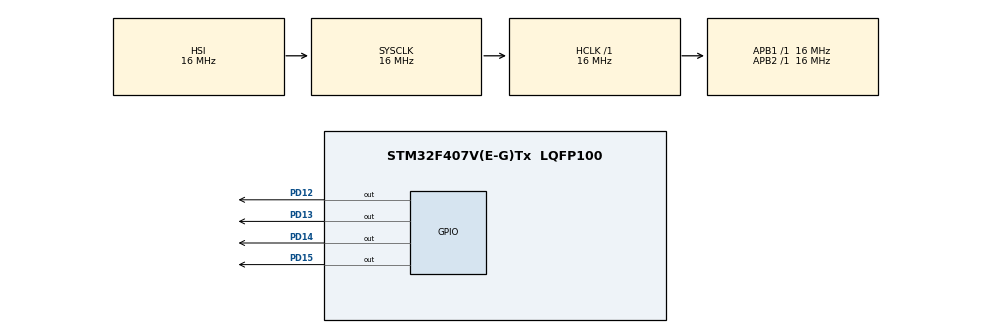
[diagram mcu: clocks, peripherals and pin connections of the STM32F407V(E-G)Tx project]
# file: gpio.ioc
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Mcu.Family=STM32F4
RCC.CortexFreq_Value=16000000
ProjectManager.StackSize=0x400
PD13.Signal=GPIO_Output
PA13.Signal=SYS_JTMS-SWDIO
ProjectManager.TargetToolchain=STM32CubeIDE
RCC.LSE_VALUE=32768
RCC.AHBFreq_Value=16000000
RCC.HSE_VALUE=25000000
board=custom
RCC.VCOOutputFreq_Value=192000000
RCC.APB2Freq_Value=16000000
PA14.Mode=Serial_Wire
PA13.Mode=Serial_Wire
Mcu.Name=STM32F407V(E-G)Tx
PD14.Signal=GPIO_Output
RCC.SYSCLKFreq_VALUE=16000000
Mcu.Package=LQFP100
PD12.Signal=GPIO_Output
PA14.Signal=SYS_JTCK-SWCLK
ProjectManager.HeapSize=0x200
RCC.HSI_VALUE=16000000
NVIC.PriorityGroup=NVIC_PRIORITYGROUP_4
RCC.APB1Freq_Value=16000000
PD15.Signal=GPIO_Output

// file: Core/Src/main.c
/* USER CODE BEGIN Header */
/**
  ******************************************************************************
  * @file           : main.c
  * @brief          : Main program body
  ******************************************************************************
  * @attention
  *
  * <h2><center>&copy; Copyright (c) 2021 STMicroelectronics.
  * All rights reserved.</center></h2>
  *
  * This software component is licensed by ST under BSD 3-Clause license,
  * the "License"; You may not use this file except in compliance with the
  * License. You may obtain a copy of the License at:
  *                        opensource.org/licenses/BSD-3-Clause
  *
  ******************************************************************************
  */
/* USER CODE END Header */
#include "main.h"

void SystemClock_Config(void);
static void MX_GPIO_Init(void);

int main(void)
{

  /* MCU Configuration--------------------------------------------------------*/

  /* Reset of all peripherals, Initializes the Flash interface and the Systick. */
  HAL_Init();

  /* Configure the system clock */
  SystemClock_Config();

  /* Initialize all configured peripherals */
  MX_GPIO_Init();

  /* Infinite loop */
  while (1)
  {

    /* USER CODE BEGIN 3 */
	  HAL_GPIO_TogglePin(GPIOD,GPIO_PIN_12);
	  HAL_Delay(120);
	  HAL_GPIO_TogglePin(GPIOD,GPIO_PIN_12);
	  HAL_Delay(120);
	  HAL_GPIO_TogglePin(GPIOD,GPIO_PIN_13);
	  HAL_Delay(120);
	  HAL_GPIO_TogglePin(GPIOD,GPIO_PIN_13);
	  HAL_Delay(120);
	  HAL_GPIO_TogglePin(GPIOD,GPIO_PIN_14);
	 HAL_Delay(120);
	 HAL_GPIO_TogglePin(GPIOD,GPIO_PIN_14);
	 HAL_Delay(120);
	 HAL_GPIO_TogglePin(GPIOD,GPIO_PIN_15);
	 HAL_Delay(120);
	 HAL_GPIO_TogglePin(GPIOD,GPIO_PIN_15);
	 HAL_Delay(120);
  }
  /* USER CODE END 3 */
}

void SystemClock_Config(void)
{
  RCC_OscInitTypeDef RCC_OscInitStruct = {0};
  RCC_ClkInitTypeDef RCC_ClkInitStruct = {0};

  /** Configure the main internal regulator output voltage
  */
  __HAL_RCC_PWR_CLK_ENABLE();
  __HAL_PWR_VOLTAGESCALING_CONFIG(PWR_REGULATOR_VOLTAGE_SCALE1);
  /** Initializes the RCC Oscillators according to the specified parameters
  * in the RCC_OscInitTypeDef structure.
  */
  RCC_OscInitStruct.OscillatorType = RCC_OSCILLATORTYPE_HSI;
  RCC_OscInitStruct.HSIState = RCC_HSI_ON;
  RCC_OscInitStruct.HSICalibrationValue = RCC_HSICALIBRATION_DEFAULT;
  RCC_OscInitStruct.PLL.PLLState = RCC_PLL_NONE;
  if (HAL_RCC_OscConfig(&RCC_OscInitStruct) != HAL_OK)
  {
    Error_Handler();
  }
  /** Initializes the CPU, AHB and APB buses clocks
  */
  RCC_ClkInitStruct.ClockType = RCC_CLOCKTYPE_HCLK|RCC_CLOCKTYPE_SYSCLK
                              |RCC_CLOCKTYPE_PCLK1|RCC_CLOCKTYPE_PCLK2;
  RCC_ClkInitStruct.SYSCLKSource = RCC_SYSCLKSOURCE_HSI;
  RCC_ClkInitStruct.AHBCLKDivider = RCC_SYSCLK_DIV1;
  RCC_ClkInitStruct.APB1CLKDivider = RCC_HCLK_DIV1;
  RCC_ClkInitStruct.APB2CLKDivider = RCC_HCLK_DIV1;

  if (HAL_RCC_ClockConfig(&RCC_ClkInitStruct, FLASH_LATENCY_0) != HAL_OK)
  {
    Error_Handler();
  }
}

static void MX_GPIO_Init(void)
{
  GPIO_InitTypeDef GPIO_InitStruct = {0};

  /* GPIO Ports Clock Enable */
  __HAL_RCC_GPIOD_CLK_ENABLE();
  __HAL_RCC_GPIOA_CLK_ENABLE();

  /*Configure GPIO pin Output Level */
  HAL_GPIO_WritePin(GPIOD, GPIO_PIN_12|GPIO_PIN_13|GPIO_PIN_14|GPIO_PIN_15, GPIO_PIN_RESET);

  /*Configure GPIO pins : PD12 PD13 PD14 PD15 */
  GPIO_InitStruct.Pin = GPIO_PIN_12|GPIO_PIN_13|GPIO_PIN_14|GPIO_PIN_15;
  GPIO_InitStruct.Mode = GPIO_MODE_OUTPUT_PP;
  GPIO_InitStruct.Pull = GPIO_NOPULL;
  GPIO_InitStruct.Speed = GPIO_SPEED_FREQ_LOW;
  HAL_GPIO_Init(GPIOD, &GPIO_InitStruct);

}

void Error_Handler(void)
{
  __disable_irq();
  while (1)
  {
  }
}

/************************ (C) COPYRIGHT STMicroelectronics *****END OF FILE****/
